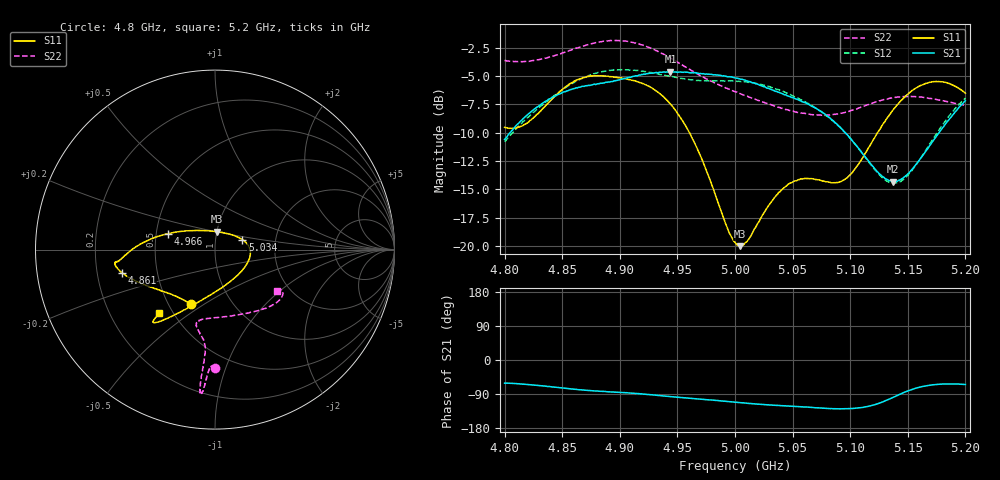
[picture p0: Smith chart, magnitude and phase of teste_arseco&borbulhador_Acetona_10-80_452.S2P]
! Network Analyzer HP8722D
! Hewlett-Packard
! Data name: Linha & Wilkinson
! Saver's name: Rodrigo Anjos
! Comments: Teste da utilização de aquisição
! continua pelo VNA HP8722D
! Time and date: 17/4/2025 18:07
!  Frequency  S11  S21  S12  S22
# HZ  S  MA R 50
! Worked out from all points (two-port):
!   401 points, 4.8 GHz to 5.2 GHz, reference 50 ohm
!   highest |S21| = -4.62 dB at 4.944 GHz (marker M1); lowest = -14.3 dB at 5.137 GHz (marker M2)
!   |S21| within 3 dB of the highest: 4.83 GHz to 5.066 GHz (235.8 MHz wide, 4.77 % of centre); 5.195908 GHz to end of sweep
!   lowest |S11| = -20.0 dB at 5.004 GHz (marker M3), VSWR 1.22, Z = 50 + j10 ohm
!   |S11| at or under -10 dB: 4.96 GHz to 5.124 GHz (163.3 MHz wide, 3.24 % of centre)
!   |S22| runs from -8.5 to -1.9 dB; largest |S21 - S12| = 0.88
!   S11 on the Smith chart (normalised r, x): 4.8 GHz: 0.64, -0.44; 4.861 GHz: 0.31, -0.11; 4.966 GHz: 0.58, +0.11; 5.034 GHz: 1.35, +0.15; 5.2 GHz: 0.42, -0.39
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4.8e9  0.3336 -113.8  0.2948 -61.0  0.2881 -175.1  0.6572 -90.1
4.819e9  0.3474 -134.0  0.3756 -64.2  0.3643 -173.9  0.6524 -91.9
4.861e9  0.5349 -166.1  0.4954 -77.4  0.5293 -177.2  0.7407 -94.1
4.867e9  0.5498 -168.4  0.5057 -78.9  0.5472 -178.2  0.7582 -94.3
4.899e9  0.5518 -173.1  0.5395 -85.5  0.5986 175.2  0.8047 -95.7
4.934e9  0.4733 -179.0  0.5832 -93.8  0.573 171.6  0.7156 -96.2
4.944e9  0.4227 176.4  0.5873 -96.7  0.559 171.7  0.6745 -95.9
4.966e9  0.2775 161.3  0.5807 -102.2  0.5376 173.5  0.5792 -95.3
4.993e9  0.1214 119.5  0.5598 -109.3  0.5337 175.9  0.4963 -98.2
5e9  0.1038 97.9  0.5513 -111.5  0.5349 175.9  0.479 -99.5
5.004e9  0.09983 84.1  0.5456 -112.4  0.5322 175.8  0.4708 -100.4
5.012e9  0.1072 58.6  0.531 -114.5  0.5269 175.7  0.454 -102.2
5.034e9  0.163 20.0  0.4841 -119.4  0.4972 174.5  0.4149 -103.7
5.049e9  0.1902 4.7  0.452 -121.9  0.4626 173.9  0.3935 -100.1
5.067e9  0.1981 -14.5  0.4122 -125.1  0.4162 173.5  0.3794 -90.5
5.086e9  0.1902 -44.8  0.3536 -128.5  0.3527 173.5  0.3809 -76.0
5.097e9  0.1991 -67.5  0.3108 -128.7  0.3111 174.6  0.3905 -66.9
5.134e9  0.378 -117.2  0.1942 -103.1  0.1907 -156.1  0.448 -43.1
5.137e9  0.3969 -119.0  0.1923 -99.0  0.1898 -151.2  0.4507 -41.8
5.15e9  0.4675 -124.9  0.2077 -81.7  0.2048 -131.3  0.4565 -36.9
5.17e9  0.5282 -129.5  0.281 -66.1  0.2863 -112.4  0.4473 -32.2
5.2e9  0.4717 -131.2  0.4373 -64.6  0.4493 -106.7  0.4168 -33.7
